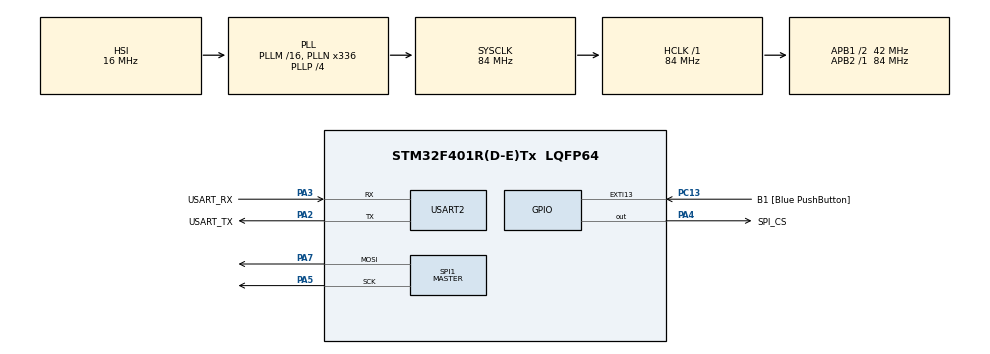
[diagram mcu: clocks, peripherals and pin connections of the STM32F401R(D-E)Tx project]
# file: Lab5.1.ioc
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Mcu.Family=STM32F4
Mcu.Name=STM32F401R(D-E)Tx
Mcu.Package=LQFP64
NVIC.PriorityGroup=NVIC_PRIORITYGROUP_4
NVIC.USART2_IRQn=true\:0\:0\:false\:false\:true\:true\:true\:true
PA13.GPIO_Label=TMS
PA13.Mode=Trace_Asynchronous_SW
PA13.Signal=SYS_JTMS-SWDIO
PA14.GPIO_Label=TCK
PA14.Mode=Trace_Asynchronous_SW
PA14.Signal=SYS_JTCK-SWCLK
PA2.GPIO_Label=USART_TX
PA2.GPIO_Mode=GPIO_MODE_AF_PP
PA2.GPIO_PuPd=GPIO_NOPULL
PA2.GPIO_Speed=GPIO_SPEED_FREQ_LOW
PA2.Mode=Asynchronous
PA2.Signal=USART2_TX
PA3.GPIO_Label=USART_RX
PA3.GPIO_Mode=GPIO_MODE_AF_PP
PA3.GPIO_PuPd=GPIO_NOPULL
PA3.GPIO_Speed=GPIO_SPEED_FREQ_LOW
PA3.Mode=Asynchronous
PA3.Signal=USART2_RX
PA4.GPIO_Label=SPI_CS
PA4.Signal=GPIO_Output
PA5.Mode=TX_Only_Simplex_Unidirect_Master
PA5.Signal=SPI1_SCK
PA7.Mode=TX_Only_Simplex_Unidirect_Master
PA7.Signal=SPI1_MOSI
PB3.GPIO_Label=SWO
PB3.Mode=Trace_Asynchronous_SW
PB3.Signal=SYS_JTDO-SWO
PC13-ANTI_TAMP.GPIO_Label=B1 [Blue PushButton]
PC13-ANTI_TAMP.GPIO_ModeDefaultEXTI=GPIO_MODE_IT_FALLING
PC13-ANTI_TAMP.GPIO_PuPd=GPIO_NOPULL
PC13-ANTI_TAMP.Signal=GPXTI13
PC14-OSC32_IN.Mode=LSE-External-Oscillator
PC14-OSC32_IN.Signal=RCC_OSC32_IN
PC15-OSC32_OUT.Mode=LSE-External-Oscillator
PC15-OSC32_OUT.Signal=RCC_OSC32_OUT
PH0\ -\ OSC_IN.Mode=HSE-External-Clock-Source
PH0\ -\ OSC_IN.Signal=RCC_OSC_IN
PH1\ -\ OSC_OUT.Mode=HSE-External-Clock-Source
PH1\ -\ OSC_OUT.Signal=RCC_OSC_OUT
ProjectManager.HeapSize=0x200
ProjectManager.StackSize=0x400
ProjectManager.TargetToolchain=STM32CubeIDE
RCC.48MHZClocksFreq_Value=48000000
RCC.AHBFreq_Value=84000000
RCC.APB1CLKDivider=RCC_HCLK_DIV2
RCC.APB1Freq_Value=42000000
RCC.APB1TimFreq_Value=84000000
RCC.APB2Freq_Value=84000000
RCC.APB2TimFreq_Value=84000000
RCC.CortexFreq_Value=84000000
RCC.HCLKFreq_Value=84000000
RCC.HSE_VALUE=8000000
RCC.HSI_VALUE=16000000
RCC.PLLN=336
RCC.PLLP=RCC_PLLP_DIV4
RCC.PLLQ=7
RCC.SYSCLKFreq_VALUE=84000000
RCC.SYSCLKSource=RCC_SYSCLKSOURCE_PLLCLK
RCC.VCOOutputFreq_Value=336000000
SPI1.BaudRatePrescaler=SPI_BAUDRATEPRESCALER_16
SPI1.Direction=SPI_DIRECTION_2LINES
SPI1.Mode=SPI_MODE_MASTER
SPI1.VirtualType=VM_MASTER
USART2.VirtualMode=VM_ASYNC
board=NUCLEO-F401RE

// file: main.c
/* USER CODE BEGIN Header */
/**
  ******************************************************************************
  * @file           : main.c
  * @brief          : Main program body
  ******************************************************************************
  * @attention
  *
  * Copyright (c) 2026 STMicroelectronics.
  * All rights reserved.
  *
  * This software is licensed under terms that can be found in the LICENSE file
  * in the root directory of this software component.
  * If no LICENSE file comes with this software, it is provided AS-IS.
  *
  ******************************************************************************
  */
/* USER CODE END Header */
#include "main.h"

/* USER CODE BEGIN PD */
// Konfiguracja MAX7219
#define NUM_DEVICES 4  // Liczba modułów w kaskadzie (np. 4 dla modułu 4-in-1)

// Rejestry MAX7219
#define REG_NO_OP           0x00
#define REG_DIGIT_0         0x01
#define REG_DECODE_MODE     0x09
#define REG_INTENSITY       0x0A
#define REG_SCAN_LIMIT      0x0B
#define REG_SHUTDOWN        0x0C
#define REG_DISPLAY_TEST    0x0F
/* USER CODE END PD */

SPI_HandleTypeDef hspi1;

UART_HandleTypeDef huart2;

/* USER CODE BEGIN PV */
// Zmienne do UART
volatile uint32_t uart_rx_count = 0; // Licznik odebranych znaków
uint8_t rx_byte;                     // Bufor na 1 znak

// Czcionka dla cyfr 0-9 (8x8 pikseli)
const uint8_t digits_font[10][8] = {
    {0x3C, 0x42, 0x42, 0x42, 0x42, 0x42, 0x42, 0x3C}, // 0
    {0x10, 0x30, 0x50, 0x10, 0x10, 0x10, 0x10, 0x10}, // 1
    {0x7E, 0x02, 0x02, 0x7E, 0x40, 0x40, 0x40, 0x7E}, // 2
    {0x3E, 0x02, 0x02, 0x3E, 0x02, 0x02, 0x02, 0x3E}, // 3
    {0x22, 0x22, 0x22, 0x7E, 0x02, 0x02, 0x02, 0x02}, // 4
    {0x7E, 0x40, 0x40, 0x7E, 0x02, 0x02, 0x02, 0x7E}, // 5
    {0x7E, 0x40, 0x40, 0x7E, 0x42, 0x42, 0x42, 0x7E}, // 6
    {0x7E, 0x02, 0x02, 0x02, 0x02, 0x02, 0x02, 0x02}, // 7
    {0x7E, 0x42, 0x42, 0x7E, 0x42, 0x42, 0x42, 0x7E}, // 8
    {0x7E, 0x42, 0x42, 0x7E, 0x02, 0x02, 0x02, 0x7E}  // 9
};
/* USER CODE END PV */

void SystemClock_Config(void);
static void MX_GPIO_Init(void);
static void MX_USART2_UART_Init(void);
static void MX_SPI1_Init(void);
/* USER CODE BEGIN PFP */
void MAX7219_Send(uint8_t address, uint8_t data, uint8_t device_index);
void MAX7219_Init(void);
void MAX7219_DisplayDigit(int digit, int device_index);
/* USER CODE END PFP */

/* USER CODE BEGIN 0 */

// Funkcja wysyłająca dane do konkretnego modułu w kaskadzie
void MAX7219_Send(uint8_t address, uint8_t data, uint8_t device_index) {
    uint8_t txData[2];

    // Rozpoczęcie transmisji (CS Low)
    HAL_GPIO_WritePin(SPI_CS_GPIO_Port, SPI_CS_Pin, GPIO_PIN_RESET);

    // Pętla od ostatniego urządzenia do pierwszego
    // Ponieważ dane są wypychane, musimy obsłużyć cały łańcuch
    for (int i = NUM_DEVICES - 1; i >= 0; i--) {
        if (i == device_index) {
            // To jest urządzenie docelowe - wysyłamy komendę
            txData[0] = address;
            txData[1] = data;
        } else {
            // To nie jest urządzenie docelowe - wysyłamy No-Op (nic nie rób)
            txData[0] = REG_NO_OP;
            txData[1] = 0x00;
        }
        HAL_SPI_Transmit(&hspi1, txData, 2, 100);
    }

    // Zatrzaśnięcie danych (CS High)
    HAL_GPIO_WritePin(SPI_CS_GPIO_Port, SPI_CS_Pin, GPIO_PIN_SET);
}

void MAX7219_Init(void) {
    // Inicjalizacja dla każdego modułu w kaskadzie
    for (int i = 0; i < NUM_DEVICES; i++) {
        MAX7219_Send(REG_DECODE_MODE, 0x00, i);  // Matrix mode (brak BCD)
        MAX7219_Send(REG_INTENSITY, 0x03, i);    // Jasność (0-15)
        MAX7219_Send(REG_SCAN_LIMIT, 0x07, i);   // Wszystkie 8 kolumn
        MAX7219_Send(REG_SHUTDOWN, 0x01, i);     // Włączony
        MAX7219_Send(REG_DISPLAY_TEST, 0x00, i); // Normalna praca

        // Wyczyść ekran
        for (int row = 1; row <= 8; row++) {
            MAX7219_Send(row, 0x00, i);
        }
    }
}

void MAX7219_DisplayDigit(int digit, int device_index) {
    if (digit < 0 || digit > 9) return;
    for (int row = 0; row < 8; row++) {
        // Rejestry wierszy to 1-8, a tablica ma indeksy 0-7
        MAX7219_Send(row + 1, digits_font[digit][row], device_index);
    }
}
/* USER CODE END 0 */

int main(void)
{

  /* MCU Configuration--------------------------------------------------------*/

  /* Reset of all peripherals, Initializes the Flash interface and the Systick. */
  HAL_Init();

  /* Configure the system clock */
  SystemClock_Config();

  /* Initialize all configured peripherals */
  MX_GPIO_Init();
  MX_USART2_UART_Init();
  MX_SPI1_Init();
  /* USER CODE BEGIN 2 */

  // 1. Inicjalizacja Wyświetlacza
  MAX7219_Init();

  // 2. Start nasłuchu UART w trybie przerwań
  HAL_UART_Receive_IT(&huart2, &rx_byte, 1);

  /* USER CODE END 2 */

  /* Infinite loop */
  /* USER CODE BEGIN WHILE */
  uint32_t current_display_count = -1; // Żeby wymusić pierwsze odświeżenie

  while (1)
  {
    // Aktualizuj wyświetlacz tylko jeśli zmieniła się liczba znaków
    if (current_display_count != uart_rx_count) {
        current_display_count = uart_rx_count;

        // Rozbicie liczby na cyfry (obsługa do 9999)
        int thousands = (current_display_count / 1000) % 10;
        int hundreds  = (current_display_count / 100) % 10;
        int tens      = (current_display_count / 10) % 10;
        int units     = (current_display_count % 10);

        // Wyświetlanie na dostępnych modułach
        if (NUM_DEVICES >= 4) MAX7219_DisplayDigit(thousands, 3);
        if (NUM_DEVICES >= 3) MAX7219_DisplayDigit(hundreds, 2);
        if (NUM_DEVICES >= 2) MAX7219_DisplayDigit(tens, 1);
        if (NUM_DEVICES >= 1) MAX7219_DisplayDigit(units, 0);
    }

    // Małe opóźnienie, aby nie obciążać CPU zbyt często sprawdzaniem
    HAL_Delay(20);

    /* USER CODE END WHILE */

  }
}

void SystemClock_Config(void)
{
  RCC_OscInitTypeDef RCC_OscInitStruct = {0};
  RCC_ClkInitTypeDef RCC_ClkInitStruct = {0};

  /** Configure the main internal regulator output voltage
  */
  __HAL_RCC_PWR_CLK_ENABLE();
  __HAL_PWR_VOLTAGESCALING_CONFIG(PWR_REGULATOR_VOLTAGE_SCALE2);

  /** Initializes the RCC Oscillators according to the specified parameters
  * in the RCC_OscInitTypeDef structure.
  */
  RCC_OscInitStruct.OscillatorType = RCC_OSCILLATORTYPE_HSI;
  RCC_OscInitStruct.HSIState = RCC_HSI_ON;
  RCC_OscInitStruct.HSICalibrationValue = RCC_HSICALIBRATION_DEFAULT;
  RCC_OscInitStruct.PLL.PLLState = RCC_PLL_ON;
  RCC_OscInitStruct.PLL.PLLSource = RCC_PLLSOURCE_HSI;
  RCC_OscInitStruct.PLL.PLLM = 16;
  RCC_OscInitStruct.PLL.PLLN = 336;
  RCC_OscInitStruct.PLL.PLLP = RCC_PLLP_DIV4;
  RCC_OscInitStruct.PLL.PLLQ = 7;
  if (HAL_RCC_OscConfig(&RCC_OscInitStruct) != HAL_OK)
  {
    Error_Handler();
  }

  /** Initializes the CPU, AHB and APB buses clocks
  */
  RCC_ClkInitStruct.ClockType = RCC_CLOCKTYPE_HCLK|RCC_CLOCKTYPE_SYSCLK
                              |RCC_CLOCKTYPE_PCLK1|RCC_CLOCKTYPE_PCLK2;
  RCC_ClkInitStruct.SYSCLKSource = RCC_SYSCLKSOURCE_PLLCLK;
  RCC_ClkInitStruct.AHBCLKDivider = RCC_SYSCLK_DIV1;
  RCC_ClkInitStruct.APB1CLKDivider = RCC_HCLK_DIV2;
  RCC_ClkInitStruct.APB2CLKDivider = RCC_HCLK_DIV1;

  if (HAL_RCC_ClockConfig(&RCC_ClkInitStruct, FLASH_LATENCY_2) != HAL_OK)
  {
    Error_Handler();
  }
}

static void MX_SPI1_Init(void)
{

  /* SPI1 parameter configuration*/
  hspi1.Instance = SPI1;
  hspi1.Init.Mode = SPI_MODE_MASTER;
  hspi1.Init.Direction = SPI_DIRECTION_2LINES;
  hspi1.Init.DataSize = SPI_DATASIZE_8BIT;
  hspi1.Init.CLKPolarity = SPI_POLARITY_LOW;
  hspi1.Init.CLKPhase = SPI_PHASE_1EDGE;
  hspi1.Init.NSS = SPI_NSS_SOFT;
  hspi1.Init.BaudRatePrescaler = SPI_BAUDRATEPRESCALER_16;
  hspi1.Init.FirstBit = SPI_FIRSTBIT_MSB;
  hspi1.Init.TIMode = SPI_TIMODE_DISABLE;
  hspi1.Init.CRCCalculation = SPI_CRCCALCULATION_DISABLE;
  hspi1.Init.CRCPolynomial = 10;
  if (HAL_SPI_Init(&hspi1) != HAL_OK)
  {
    Error_Handler();
  }

}

static void MX_USART2_UART_Init(void)
{

  huart2.Instance = USART2;
  huart2.Init.BaudRate = 115200;
  huart2.Init.WordLength = UART_WORDLENGTH_8B;
  huart2.Init.StopBits = UART_STOPBITS_1;
  huart2.Init.Parity = UART_PARITY_NONE;
  huart2.Init.Mode = UART_MODE_TX_RX;
  huart2.Init.HwFlowCtl = UART_HWCONTROL_NONE;
  huart2.Init.OverSampling = UART_OVERSAMPLING_16;
  if (HAL_UART_Init(&huart2) != HAL_OK)
  {
    Error_Handler();
  }

}

static void MX_GPIO_Init(void)
{
  GPIO_InitTypeDef GPIO_InitStruct = {0};

  /* GPIO Ports Clock Enable */
  __HAL_RCC_GPIOC_CLK_ENABLE();
  __HAL_RCC_GPIOH_CLK_ENABLE();
  __HAL_RCC_GPIOA_CLK_ENABLE();
  __HAL_RCC_GPIOB_CLK_ENABLE();

  /*Configure GPIO pin Output Level */
  HAL_GPIO_WritePin(SPI_CS_GPIO_Port, SPI_CS_Pin, GPIO_PIN_RESET);

  /*Configure GPIO pin : B1_Pin */
  GPIO_InitStruct.Pin = B1_Pin;
  GPIO_InitStruct.Mode = GPIO_MODE_IT_FALLING;
  GPIO_InitStruct.Pull = GPIO_NOPULL;
  HAL_GPIO_Init(B1_GPIO_Port, &GPIO_InitStruct);

  /*Configure GPIO pin : SPI_CS_Pin */
  GPIO_InitStruct.Pin = SPI_CS_Pin;
  GPIO_InitStruct.Mode = GPIO_MODE_OUTPUT_PP;
  GPIO_InitStruct.Pull = GPIO_NOPULL;
  GPIO_InitStruct.Speed = GPIO_SPEED_FREQ_LOW;
  HAL_GPIO_Init(SPI_CS_GPIO_Port, &GPIO_InitStruct);

}

/* USER CODE BEGIN 4 */
// Callback wywoływany po odebraniu znaku przez UART
void HAL_UART_RxCpltCallback(UART_HandleTypeDef *huart)
{
  if (huart->Instance == USART2)
  {
    // 1. Zwiększ licznik zajętości
    uart_rx_count++;

    // (Opcjonalnie: tutaj możesz zapisać rx_byte do bufora kołowego)

    // 2. Wznów nasłuch na kolejny znak
    HAL_UART_Receive_IT(&huart2, &rx_byte, 1);
  }
}
/* USER CODE END 4 */

void Error_Handler(void)
{
  __disable_irq();
  while (1)
  {
  }
}
